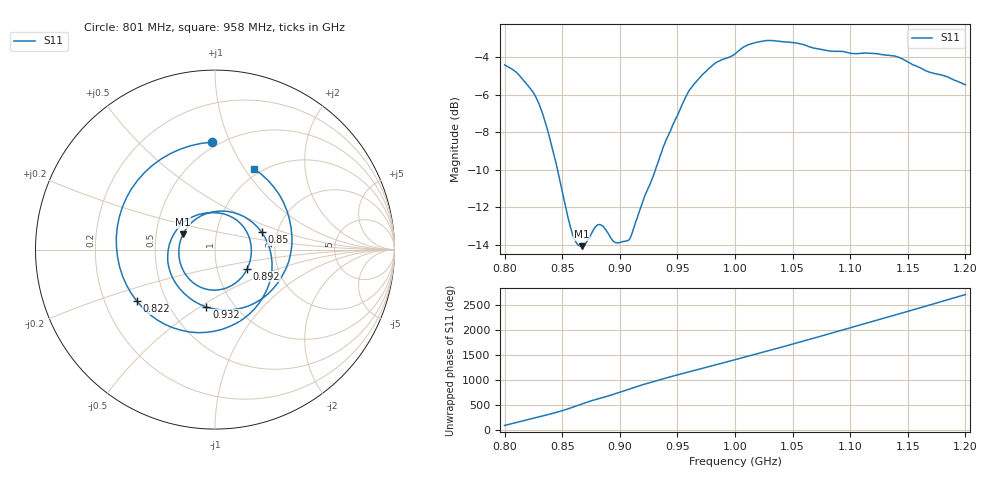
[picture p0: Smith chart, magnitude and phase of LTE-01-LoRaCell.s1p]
! NanoVNA-App
! Date: 2026-05-22 19:09:22
! Start: 800MHz Stop: 1.2GHz Points: 401
! S-Parameter data: F S11
# Hz S RI R 50
!  Frequency  S11_Real  S11_Imag
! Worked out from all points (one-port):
!   401 points, 800 MHz to 1.2 GHz, reference 50 ohm
!   lowest |S11| = -14.1 dB at 867 MHz (marker M1), VSWR 1.49, Z = 34.4 + j6.14 ohm
!   |S11| at or under -10 dB: 845.9 MHz to 930.9 MHz (84.94 MHz wide, 9.56 % of centre)
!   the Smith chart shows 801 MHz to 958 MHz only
!   S11 on the Smith chart (normalised r, x): 801 MHz: 0.46, +0.86; 822 MHz: 0.34, -0.27; 850 MHz: 1.66, +0.35; 892 MHz: 1.40, -0.31; 932 MHz: 0.75, -0.53; 958 MHz: 0.92, +1.10
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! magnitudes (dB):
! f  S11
! 800 MHz  -4.4
! 801 MHz  -4.4
! 810 MHz  -4.8
! 822 MHz  -5.7
! 828 MHz  -6.2
! 835 MHz  -7.4
! 843 MHz  -9.2
! 850 MHz  -11.1
! 859 MHz  -13.4
! 863 MHz  -13.9
! 867 MHz  -14.1
! 881 MHz  -12.9
! 886 MHz  -13.0
! 892 MHz  -13.6
! 900 MHz  -13.9
! 909 MHz  -13.6
! 932 MHz  -9.8
! 939 MHz  -8.6
! 950 MHz  -7.1
! 958 MHz  -6.0
! 980 MHz  -4.5
! 1 GHz  -3.8
! 1.021 GHz  -3.2
! 1.05 GHz  -3.2
! 1.1 GHz  -3.8
! 1.137 GHz  -3.9
! 1.15 GHz  -4.3
! 1.2 GHz  -5.5
